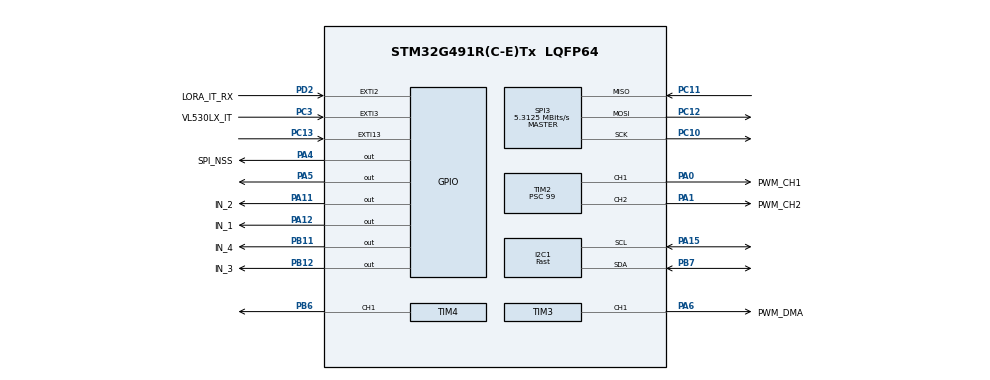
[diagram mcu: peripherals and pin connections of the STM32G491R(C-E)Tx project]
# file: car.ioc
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Dma.Request0=TIM3_CH1
Dma.TIM3_CH1.0.Direction=DMA_MEMORY_TO_PERIPH
Dma.TIM3_CH1.0.EventEnable=DISABLE
Dma.TIM3_CH1.0.Instance=DMA1_Channel1
Dma.TIM3_CH1.0.MemDataAlignment=DMA_MDATAALIGN_BYTE
Dma.TIM3_CH1.0.MemInc=DMA_MINC_ENABLE
Dma.TIM3_CH1.0.Mode=DMA_NORMAL
Dma.TIM3_CH1.0.PeriphDataAlignment=DMA_PDATAALIGN_WORD
Dma.TIM3_CH1.0.PeriphInc=DMA_PINC_DISABLE
Dma.TIM3_CH1.0.Polarity=HAL_DMAMUX_REQ_GEN_RISING
Dma.TIM3_CH1.0.Priority=DMA_PRIORITY_LOW
Dma.TIM3_CH1.0.RequestNumber=1
Dma.TIM3_CH1.0.SignalID=NONE
Dma.TIM3_CH1.0.SyncEnable=DISABLE
Dma.TIM3_CH1.0.SyncPolarity=HAL_DMAMUX_SYNC_NO_EVENT
Dma.TIM3_CH1.0.SyncRequestNumber=1
Dma.TIM3_CH1.0.SyncSignalID=NONE
FREERTOS.Tasks01=defaultTask,0,128,StartDefaultTask,Default,NULL,Dynamic,NULL,NULL
FREERTOS.configUSE_PREEMPTION=1
I2C1.I2C_Speed_Mode=I2C_Fast
I2C1.Timing=0x40621236
Mcu.Family=STM32G4
Mcu.Name=STM32G491R(C-E)Tx
Mcu.Package=LQFP64
NUCLEO-G491RE.BUTTON=1
NUCLEO-G491RE.LD2=true
NUCLEO-G491RE.VCP=true
NVIC.DMA1_Channel1_IRQn=true\:5\:0\:false\:false\:true\:true\:false\:true\:true
NVIC.EXTI15_10_IRQn=true\:5\:0\:false\:false\:true\:true\:true\:true\:true
NVIC.EXTI2_IRQn=true\:5\:0\:false\:false\:true\:true\:true\:true\:true
NVIC.EXTI3_IRQn=true\:5\:0\:false\:false\:true\:true\:true\:true\:true
NVIC.PriorityGroup=NVIC_PRIORITYGROUP_4
NVIC.TIM3_IRQn=true\:5\:0\:false\:false\:true\:true\:true\:true\:true
NVIC.TIM7_IRQn=true\:15\:0\:false\:false\:true\:false\:false\:true\:true
NVIC.TimeBase=TIM7_IRQn
NVIC.TimeBaseIP=TIM7
PA0.GPIO_Label=PWM_CH1
PA0.Signal=S_TIM2_CH1
PA1.GPIO_Label=PWM_CH2
PA1.Signal=S_TIM2_CH2
PA11.GPIO_Label=IN_2
PA11.Signal=GPIO_Output
PA12.GPIO_Label=IN_1
PA12.Signal=GPIO_Output
PA13.GPIO_Label=T_SWDIO
PA13.Signal=SYS_JTMS-SWDIO
PA14.GPIO_Label=T_SWCLK
PA14.Signal=SYS_JTCK-SWCLK
PA15.Mode=I2C
PA15.Signal=I2C1_SCL
PA2.Signal=LPUART1_TX
PA3.Signal=LPUART1_RX
PA4.GPIO_Label=SPI_NSS
PA4.PinState=GPIO_PIN_SET
PA4.Signal=GPIO_Output
PA5.Signal=GPIO_Output
PA6.GPIO_Label=PWM_DMA
PA6.Signal=S_TIM3_CH1
PB11.GPIO_Label=IN_4
PB11.Signal=GPIO_Output
PB12.GPIO_Label=IN_3
PB12.Signal=GPIO_Output
PB3.GPIO_Label=T_SWO
PB3.Signal=SYS_JTDO-SWO
PB6.Signal=S_TIM4_CH1
PB7.Mode=I2C
PB7.Signal=I2C1_SDA
PC10.Mode=Full_Duplex_Master
PC10.Signal=SPI3_SCK
PC11.Mode=Full_Duplex_Master
PC11.Signal=SPI3_MISO
PC12.Mode=Full_Duplex_Master
PC12.Signal=SPI3_MOSI
PC13.Signal=GPXTI13
PC14-OSC32_IN.GPIO_Label=RCC_OSC32_IN
PC14-OSC32_IN.Signal=RCC_OSC32_IN
PC15-OSC32_OUT.GPIO_Label=RCC_OSC32_OUT
PC15-OSC32_OUT.Signal=RCC_OSC32_OUT
PC3.GPIO_Label=VL530LX_IT
PC3.Signal=GPXTI3
PD2.GPIO_Label=LORA_IT_RX
PD2.Signal=GPXTI2
PF0-OSC_IN.GPIO_Label=RCC_OSC_IN
PF0-OSC_IN.Signal=RCC_OSC_IN
PF1-OSC_OUT.GPIO_Label=RCC_OSC_OUT
PF1-OSC_OUT.Signal=RCC_OSC_OUT
ProjectManager.HeapSize=0x200
ProjectManager.StackSize=0x400
ProjectManager.TargetToolchain=Makefile
RCC.ADC12Freq_Value=170000000
RCC.ADC345Freq_Value=170000000
RCC.AHBFreq_Value=170000000
RCC.APB1Freq_Value=170000000
RCC.APB1TimFreq_Value=170000000
RCC.APB2Freq_Value=170000000
RCC.APB2TimFreq_Value=170000000
RCC.CortexFreq_Value=170000000
RCC.EXTERNAL_CLOCK_VALUE=12288000
RCC.HCLKFreq_Value=170000000
RCC.HSE_VALUE=24000000
RCC.HSI48_VALUE=48000000
RCC.HSI_VALUE=16000000
RCC.LSE_VALUE=32768
RCC.PLLM=RCC_PLLM_DIV4
RCC.PLLN=85
RCC.RTCClockSelection=RCC_RTCCLKSOURCE_LSE
RCC.SYSCLKFreq_VALUE=170000000
RCC.SYSCLKSource=RCC_SYSCLKSOURCE_PLLCLK
RCC.USBFreq_Value=48000000
RCC.VCOOutputFreq_Value=340000000
SH.S_TIM2_CH1.0=TIM2_CH1,PWM Generation1 CH1
SH.S_TIM2_CH2.0=TIM2_CH2,PWM Generation2 CH2
SH.S_TIM3_CH1.0=TIM3_CH1,PWM Generation1 CH1
SH.S_TIM4_CH1.0=TIM4_CH1,PWM Generation1 CH1
SPI3.BaudRatePrescaler=SPI_BAUDRATEPRESCALER_32
SPI3.CalculateBaudRate=5.3125 MBits/s
SPI3.DataSize=SPI_DATASIZE_8BIT
SPI3.Direction=SPI_DIRECTION_2LINES
SPI3.Mode=SPI_MODE_MASTER
SPI3.NSSPMode=SPI_NSS_PULSE_DISABLE
SPI3.VirtualType=VM_MASTER
TIM2.AutoReloadPreload=TIM_AUTORELOAD_PRELOAD_ENABLE
TIM2.Channel-PWM\ Generation1\ CH1=TIM_CHANNEL_1
TIM2.Channel-PWM\ Generation2\ CH2=TIM_CHANNEL_2
TIM2.PeriodNoDither=99
TIM2.Prescaler=99
TIM3.AutoReloadPreload=TIM_AUTORELOAD_PRELOAD_ENABLE
TIM3.Channel-PWM\ Generation1\ CH1=TIM_CHANNEL_1
TIM3.PeriodNoDither=9
TIM3.Prescaler=21
TIM4.AutoReloadPreload=TIM_AUTORELOAD_PRELOAD_ENABLE
TIM4.Channel-PWM\ Generation1\ CH1=TIM_CHANNEL_1
TIM4.PeriodNoDither=33999
VP_FREERTOS_VS_CMSIS_V1.Mode=CMSIS_V1
VP_NUCLEO-G491RE_VS_BSP_COMMON.Mode=COMMON
VP_SYS_VS_DBSignals.Mode=DisableDeadBatterySignals
VP_SYS_VS_tim7.Mode=TIM7
VP_TIM2_VS_ClockSourceINT.Mode=Internal
VP_TIM3_VS_ClockSourceINT.Mode=Internal
VP_TIM4_VS_ClockSourceINT.Mode=Internal
board=NUCLEO-G491RE

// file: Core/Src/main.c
/* USER CODE BEGIN Header */
/**
  ******************************************************************************
  * @file           : main.c
  * @brief          : Main program body
  ******************************************************************************
  * @attention
  *
  * Copyright (c) 2024 STMicroelectronics.
  * All rights reserved.
  *
  * This software is licensed under terms that can be found in the LICENSE file
  * in the root directory of this software component.
  * If no LICENSE file comes with this software, it is provided AS-IS.
  *
  ******************************************************************************
  */
/* USER CODE END Header */
#include "main.h"
#include "cmsis_os.h"
#include "dma.h"
#include "i2c.h"
#include "spi.h"
#include "tim.h"
#include "gpio.h"

/* USER CODE BEGIN Includes */
#include "lora.h"
#include "rgb.h"
#include "vl53l0x.h"
#include "buzzer.h"
/* USER CODE END Includes */

COM_InitTypeDef BspCOMInit;

void SystemClock_Config(void);
void MX_FREERTOS_Init(void);

int main(void)
{

  /* MCU Configuration--------------------------------------------------------*/

  /* Reset of all peripherals, Initializes the Flash interface and the Systick. */
  HAL_Init();

  /* Configure the system clock */
  SystemClock_Config();

  /* Initialize all configured peripherals */

  MX_GPIO_Init();
  MX_DMA_Init();
  MX_TIM2_Init();
  MX_SPI3_Init();
  MX_TIM3_Init();
  MX_TIM4_Init();
  MX_I2C1_Init();
  /* USER CODE BEGIN 2 */

  LL_SPI_Enable(SPI3);
  LL_TIM_EnableCounter(TIM2);
  LL_TIM_CC_EnableChannel(TIM2,LL_TIM_CHANNEL_CH1);
  LL_TIM_CC_EnableChannel(TIM2,LL_TIM_CHANNEL_CH2);

  lora_s lora =
  {
	  .bandwidth = khz_125,
	  .sf = SF_10,
	  .pa_boost = SET,
	  .max_power = 3,
	  .output_power = 14,
	  .lna_gain = 6
  };

  LoRa_Init(&lora);
  Lora_Init_Receive();
  RGB_Init();
  RGB_Set_Color(255, 125, 0);
  VL53L0X_Init();
  BUZZER_Set_Frequency(1000);

  /* USER CODE END 2 */

  /* Call init function for freertos objects (in cmsis_os2.c) */
  MX_FREERTOS_Init();

  /* Initialize led */
  BSP_LED_Init(LED_GREEN);

  /* Initialize USER push-button, will be used to trigger an interrupt each time it's pressed.*/
  BSP_PB_Init(BUTTON_USER, BUTTON_MODE_EXTI);

  /* Initialize COM1 port (115200, 8 bits (7-bit data + 1 stop bit), no parity */
  BspCOMInit.BaudRate   = 115200;
  BspCOMInit.WordLength = COM_WORDLENGTH_8B;
  BspCOMInit.StopBits   = COM_STOPBITS_1;
  BspCOMInit.Parity     = COM_PARITY_NONE;
  BspCOMInit.HwFlowCtl  = COM_HWCONTROL_NONE;
  if (BSP_COM_Init(COM1, &BspCOMInit) != BSP_ERROR_NONE)
  {
    Error_Handler();
  }

  /* Start scheduler */
  osKernelStart();

  /* We should never get here as control is now taken by the scheduler */

  /* Infinite loop */
  while (1)
  {

  }
}

void SystemClock_Config(void)
{
  LL_FLASH_SetLatency(LL_FLASH_LATENCY_4);
  while(LL_FLASH_GetLatency() != LL_FLASH_LATENCY_4)
  {
  }
  LL_PWR_EnableRange1BoostMode();
  LL_RCC_HSI_Enable();
   /* Wait till HSI is ready */
  while(LL_RCC_HSI_IsReady() != 1)
  {
  }

  LL_RCC_HSI_SetCalibTrimming(64);
  LL_RCC_PLL_ConfigDomain_SYS(LL_RCC_PLLSOURCE_HSI, LL_RCC_PLLM_DIV_4, 85, LL_RCC_PLLR_DIV_2);
  LL_RCC_PLL_EnableDomain_SYS();
  LL_RCC_PLL_Enable();
   /* Wait till PLL is ready */
  while(LL_RCC_PLL_IsReady() != 1)
  {
  }

  LL_RCC_SetSysClkSource(LL_RCC_SYS_CLKSOURCE_PLL);
  LL_RCC_SetAHBPrescaler(LL_RCC_SYSCLK_DIV_2);
   /* Wait till System clock is ready */
  while(LL_RCC_GetSysClkSource() != LL_RCC_SYS_CLKSOURCE_STATUS_PLL)
  {
  }

  /* Insure 1us transition state at intermediate medium speed clock*/
  for (__IO uint32_t i = (170 >> 1); i !=0; i--);

  /* Set AHB prescaler*/
  LL_RCC_SetAHBPrescaler(LL_RCC_SYSCLK_DIV_1);
  LL_RCC_SetAPB1Prescaler(LL_RCC_APB1_DIV_1);
  LL_RCC_SetAPB2Prescaler(LL_RCC_APB2_DIV_1);
  LL_SetSystemCoreClock(170000000);

   /* Update the time base */
  if (HAL_InitTick (TICK_INT_PRIORITY) != HAL_OK)
  {
    Error_Handler();
  }
}

void HAL_TIM_PeriodElapsedCallback(TIM_HandleTypeDef *htim)
{
  if (htim->Instance == TIM7) {
    HAL_IncTick();
  }
}

void Error_Handler(void)
{
  __disable_irq();
  while (1)
  {
  }
}

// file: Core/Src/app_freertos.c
/**
  ******************************************************************************
  * File Name          : app_freertos.c
  * Description        : Code for freertos applications
  ******************************************************************************
  * @attention
  *
  * Copyright (c) 2024 STMicroelectronics.
  * All rights reserved.
  *
  * This software is licensed under terms that can be found in the LICENSE file
  * in the root directory of this software component.
  * If no LICENSE file comes with this software, it is provided AS-IS.
  *
  ******************************************************************************
  */

#include "app_freertos.h"

TaskHandle_t xLORA_Rx_Task_Handler = NULL;
TaskHandle_t xReversing_Task_Handler = NULL;

void MX_FREERTOS_Init(void)
{
    xTaskCreate(vLORA_Rx_Task, "LORA_Recieve_Task", 200, NULL, 4, &xLORA_Rx_Task_Handler);
    xTaskCreate(vReversing_Task, "Reversing", 200, NULL, 3, &xReversing_Task_Handler);

}

void vLORA_Rx_Task(void *pvParameters)
{
    uint32_t ulNotify_Value;
    const motor_t *motor_date;

    for(;;)
    {
        ulNotify_Value = ulTaskNotifyTake(pdTRUE, portMAX_DELAY);

        if(ulNotify_Value > 0)
        {
            LL_GPIO_TogglePin(GPIOA, LL_GPIO_PIN_5);
            LoRa_It_Rx_Callback();
            MOTOR_Set_Direction();
            motor_date = MOTOR_Get_Struct_Data();
            printf("Lora Data Reievied \n\r");
            if (motor_date->state_value.y_state == REVERSE)
            {
                NVIC_EnableIRQ(EXTI3_IRQn);
                printf("Reversing... \n\r");
            }
            else
            {
                NVIC_DisableIRQ(EXTI3_IRQn);
                BUZZER_Off();
            }
        }
    }
}

void vReversing_Task(void *pvParameters)
{
    uint32_t ulEvent;
    uint16_t distance;

    for(;;)
    {
        ulEvent = ulTaskNotifyTake(pdTRUE, portMAX_DELAY);

        if (ulEvent > 0)
        {
            distance = VL53L0X_Get_Distance_IT();
            if (distance < 100)
            {
                BUZZER_Toggle();
                //printf("Distance <15 \n\r");
            }
            if (distance < 50)
            {
                BUZZER_On();
                //printf("Distance <5 \n\r");
            }
        }

    }
}
